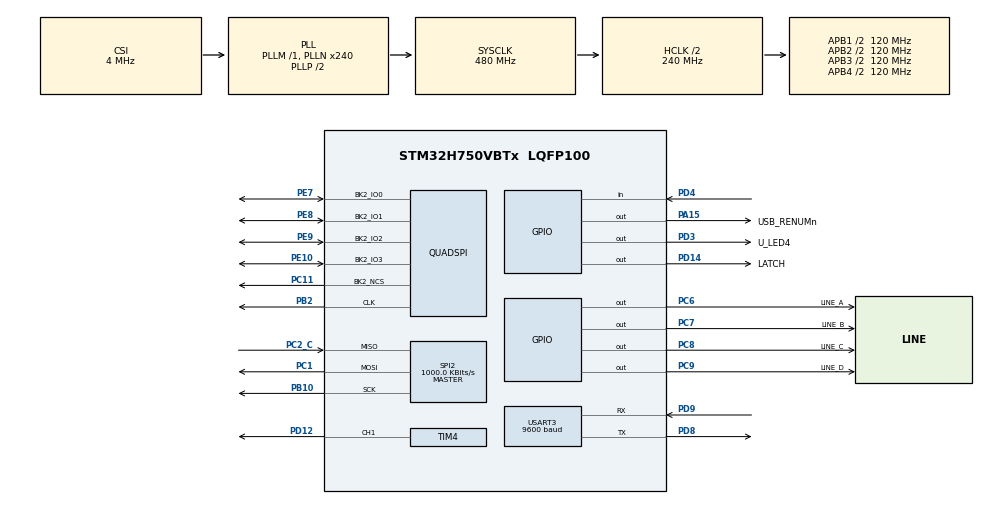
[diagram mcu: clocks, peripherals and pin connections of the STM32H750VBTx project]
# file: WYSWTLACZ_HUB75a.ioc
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Mcu.Family=STM32H7
NVIC.USART3_IRQn=true\:0\:0\:false\:false\:true\:true\:true
IWDG1.Prescaler=IWDG_PRESCALER_8
VP_TIM5_VS_ClockSourceINT.Mode=Internal
RCC.CortexFreq_Value=480000000
PD3.PinState=GPIO_PIN_RESET
QUADSPI.ClockPrescaler=4
SPI2.VirtualType=VM_MASTER
PB10.Mode=Full_Duplex_Master
RCC.HPRE=RCC_HCLK_DIV2
Mdma.MDMA_Channel0.QUADSPI_FIFO_TH.0.SourceInc=MDMA_SRC_INC_BYTE
Mdma.MDMA_Channel0.QUADSPI_FIFO_TH.0.Rank=First
Mdma.MDMA_Channel0.QUADSPI_FIFO_TH.0.Endianness=MDMA_LITTLE_ENDIANNESS_PRESERVE
RCC.PLL2_VCI_Range-AdvancedSettings=RCC_PLL2VCIRANGE_0
RCC.PLLFRACN=0
PC6.GPIO_Label=LINE_A
Mdma.MDMA_Channel0.QUADSPI_FIFO_TH.0.DstAddress=0
Mdma.MDMA_Channel0.QUADSPI_FIFO_TH.0.Instance=MDMA_Channel0
RCC.PLL1_VCO_SEL-AdvancedSettings=RCC_PLL1VCOMEDIUM
RCC.PLL2FRACN=0
PA15\ (JTDI).Signal=GPIO_Output
PD3.GPIO_Speed=GPIO_SPEED_FREQ_LOW
PD9.Mode=Asynchronous
RCC.SYSCLKSource=RCC_SYSCLKSOURCE_PLLCLK
ProjectManager.StackSize=0x400
PC8.PinState=GPIO_PIN_RESET
IWDG1.Reload=160
RCC.SPI123CLockSelection=RCC_SPI123CLKSOURCE_PLL2
USART3.VirtualMode-Asynchronous=VM_ASYNC
Mdma.MDMA_Channel0.QUADSPI_FIFO_TH.0.BufferTransferLength=4
PA14\ (JTCK/SWCLK).Signal=DEBUG_JTCK-SWCLK
CORTEX_M7.Enable-Cortex_Memory_Protection_Unit_Region0_Settings=MPU_REGION_ENABLE
USART3.BaudRate=9600
NVIC.TIM5_IRQn=true\:3\:0\:true\:false\:true\:true\:true
RCC.HCLKFreq_Value=240000000
PD4.Signal=GPIO_Input
TIM3.Period=9
PC7.Signal=GPIO_Output
PD8.Signal=USART3_TX
QUADSPI.FlashSize=25
PC2_C.Signal=SPI2_MISO
PD4.GPIO_Mode=GPIO_MODE_INPUT
Mdma.MDMA_Channel0.Request0=QUADSPI_FIFO_TH
RCC.HSE_VALUE=8000000
PB2.Signal=QUADSPI_CLK
RCC.DIVM3=1
RCC.DIVM2=1
RCC.DIVM1=1
Mdma.MDMA_Channel0.QUADSPI_FIFO_TH.0.DestinationInc=MDMA_DEST_INC_DISABLE
VP_IWDG1_VS_IWDG.Mode=IWDG_Activate
Mdma.MDMA_Channel0.QUADSPI_FIFO_TH.0.DataAlignment=MDMA_DATAALIGN_PACKENABLE
RCC.PLL1_VCI_Range-AdvancedSettings=RCC_PLL1VCIRANGE_0
PE9.Signal=QUADSPI_BK2_IO2
TIM3.Prescaler=239
NVIC.TIM2_IRQn=true\:4\:0\:true\:false\:true\:true\:true
SPI2.CalculateBaudRate=1000.0 KBits/s
PC7.PinState=GPIO_PIN_RESET
Mdma.MDMA_Channel0.QUADSPI_FIFO_TH.0.BlockCount=0
PA14\ (JTCK/SWCLK).Mode=Serial_Wire
TIM4.Period=100
Mdma.MDMA_Channel0.RequestsNb=1
PE10.Signal=QUADSPI_BK2_IO3
Mdma.RequestSet0=MDMA_Channel0
RCC.APB3Freq_Value=120000000
Mcu.Package=LQFP100
TIM2.Prescaler=239
SPI2.Mode=SPI_MODE_MASTER
RCC.PLL3FRACN=0
RCC.D1PPRE=RCC_APB3_DIV2
PA15\ (JTDI).GPIO_ModeDefaultOutputPP=GPIO_MODE_OUTPUT_PP
PD12.Signal=S_TIM4_CH1
Mdma.MDMA_Channel0.QUADSPI_FIFO_TH.0.BlockDataLength=0
PC8.GPIO_ModeDefaultOutputPP=GPIO_MODE_OUTPUT_PP
PE9.Mode=Single Bank 2
PC6.GPIO_PuPd=GPIO_PULLUP
PC8.GPIO_Speed=GPIO_SPEED_FREQ_HIGH
PC11.Mode=Single Bank 2
SH.S_TIM4_CH1.0=TIM4_CH1,PWM Generation1 CH1
RCC.APB4Freq_Value=120000000
SPI2.Direction=SPI_DIRECTION_2LINES
PD3.GPIO_Label=U_LED4
PD3.GPIO_PuPd=GPIO_NOPULL
PE7.Signal=QUADSPI_BK2_IO0
PC6.GPIO_Speed=GPIO_SPEED_FREQ_HIGH
VP_TIM3_VS_ClockSourceINT.Mode=Internal
PC6.GPIO_ModeDefaultOutputPP=GPIO_MODE_OUTPUT_PP
RCC.PLLSourceVirtual=RCC_PLLSOURCE_CSI
TIM4.Channel-PWM\ Generation1\ CH1=TIM_CHANNEL_1
PC7.GPIO_ModeDefaultOutputPP=GPIO_MODE_OUTPUT_PP
NVIC.QUADSPI_IRQn=true\:2\:0\:true\:false\:true\:true\:true
Mdma.MDMA_Channel0.QUADSPI_FIFO_TH.0.MaskData=0
CORTEX_M7.CPU_ICache=Enabled
RCC.DIVQ2=120
RCC.DIVQ1=120
PA13\ (JTMS/SWDIO).Mode=Serial_Wire
Mdma.MDMA_Channel0.QUADSPI_FIFO_TH.0.SrcAddress=0
PC9.GPIO_Label=LINE_D
Mdma.MDMA_Channel0.QUADSPI_FIFO_TH.0.CircularMode=MDMA_LINEAR_LIST
PC11.Signal=QUADSPI_BK2_NCS
PD3.Signal=GPIO_Output
PC8.Signal=GPIO_Output
PE10.Mode=Single Bank 2
PC6.Signal=GPIO_Output
PC9.PinState=GPIO_PIN_SET
RCC.D2PPRE2=RCC_APB2_DIV2
RCC.D2PPRE1=RCC_APB1_DIV2
RCC.DIVP2=120
PD9.Signal=USART3_RX
Mdma.MDMA_Channel0.QUADSPI_FIFO_TH.0.DestDataSize=MDMA_DEST_DATASIZE_BYTE
PE8.Mode=Single Bank 2
PC8.GPIO_Label=LINE_C
CORTEX_M7.MPU_Control=__NULL
PD4.GPIO_PuPd=GPIO_NOPULL
NVIC.MDMA_IRQn=true\:2\:0\:true\:false\:true\:true\:true
ProjectManager.TargetToolchain=STM32CubeIDE
RCC.DIVN3=120
RCC.DIVN2=60
RCC.DIVN1=240
RCC.LPTIM1CLockSelection=RCC_LPTIM1CLKSOURCE_PLL2
PC2_C.Mode=Full_Duplex_Master
STMicroelectronics.X-CUBE-TOUCHGFX.4.16.0.ApplicationCcGraphicsJjApplication=TouchGFXOoGenerator
RCC.USBFreq_Value=48000000
PC7.GPIO_PuPd=GPIO_PULLUP
TIM4.Prescaler=1
PD8.Mode=Asynchronous
PB10.Signal=SPI2_SCK
PC6.PinState=GPIO_PIN_RESET
RCC.USBCLockSelection=RCC_USBCLKSOURCE_HSI48
Mdma.MDMA_Channel0.QUADSPI_FIFO_TH.0.DestBlockAddressOffset=0
Mdma.MDMA_Channel0.QUADSPI_FIFO_TH.0.DestBurst=MDMA_DEST_BURST_SINGLE
Mdma.MDMA_Channel0.QUADSPI_FIFO_TH.0.SourceDataSize=MDMA_SRC_DATASIZE_BYTE
board=custom
PC7.GPIO_Speed=GPIO_SPEED_FREQ_HIGH
PA15\ (JTDI).GPIO_Speed=GPIO_SPEED_FREQ_LOW
NVIC.TIM3_IRQn=true\:4\:0\:true\:false\:true\:true\:true
RCC.APB2Freq_Value=120000000
VP_TIM2_VS_ClockSourceINT.Mode=Internal
PE8.Signal=QUADSPI_BK2_IO1
PC9.GPIO_ModeDefaultOutputPP=GPIO_MODE_OUTPUT_PP
RCC.ADCFreq_Value=2000000
Mdma.MDMA_Channel0.QUADSPI_FIFO_TH.0.SourceBurst=MDMA_SOURCE_BURST_SINGLE
PC9.GPIO_PuPd=GPIO_PULLDOWN
PA15\ (JTDI).GPIO_PuPd=GPIO_NOPULL
QUADSPI.FifoThreshold=4
PD14.GPIO_Label=LATCH
TIM2.Period=99
Mdma.MDMA_Channel0.QUADSPI_FIFO_TH.0.MaskAddress=0
PA15\ (JTDI).GPIO_Label=USB_RENUMn
Mcu.Name=STM32H750VBTx
PD14.Signal=GPIO_Output
PC7.GPIO_Label=LINE_B
PC8.GPIO_PuPd=GPIO_PULLUP
RCC.SYSCLKFreq_VALUE=480000000
PE7.Mode=Single Bank 2
RCC.Spi45ClockSelection=RCC_SPI45CLKSOURCE_PLL2
TIM5.Prescaler=239
PB2.Mode=Single Bank 2
Mdma.MDMA_Channel0.QUADSPI_FIFO_TH.0.Priority=MDMA_PRIORITY_LOW
RCC.QSPICLockSelection=RCC_QSPICLKSOURCE_PLL2
Mdma.MDMA_Channel0.QUADSPI_FIFO_TH.0.SourceBlockAddressOffset=0
ProjectManager.HeapSize=0x200
Mdma.MDMA_Channel0.QUADSPI_FIFO_TH.0.TransferTriggerMode=MDMA_BUFFER_TRANSFER
PD3.GPIO_ModeDefaultOutputPP=GPIO_MODE_OUTPUT_PP
VP_TIM4_VS_ClockSourceINT.Mode=Internal
Mdma.RequestSetsNb=1
PC9.GPIO_Speed=GPIO_SPEED_FREQ_LOW
NVIC.PriorityGroup=NVIC_PRIORITYGROUP_4
RCC.D3PPRE=RCC_APB4_DIV2
TIM5.Period=200
PA15\ (JTDI).PinState=GPIO_PIN_RESET
PC9.Signal=GPIO_Output
CORTEX_M7.CPU_DCache=Disabled
RCC.APB1Freq_Value=120000000
RCC.DIVR2=5
PC1.Signal=SPI2_MOSI
PA13\ (JTMS/SWDIO).Signal=DEBUG_JTMS-SWDIO
PC1.Mode=Full_Duplex_Master

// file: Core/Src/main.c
/* USER CODE BEGIN Header */
/**
  ******************************************************************************
  * @file           : main.c
  * @brief          : Main program body
  ******************************************************************************
  * @attention
  *
  * <h2><center>&copy; Copyright (c) 2021 STMicroelectronics.
  * All rights reserved.</center></h2>
  *
  * This software component is licensed by ST under BSD 3-Clause license,
  * the "License"; You may not use this file except in compliance with the
  * License. You may obtain a copy of the License at:
  *                        opensource.org/licenses/BSD-3-Clause
  *
  ******************************************************************************
  */
/* USER CODE END Header */
#include "main.h"
#include "iwdg.h"
#include "mdma.h"
#include "quadspi.h"
#include "spi.h"
#include "tim.h"
#include "usart.h"
#include "gpio.h"

/* USER CODE BEGIN Includes */
#include "HUB_75.h"
#include "stm32h7xx_it.h"
#include "PIXEL_MAPS.h"
#include "stm32h7xx_hal.h"
#include "Napisy.h"
#include "LL_UART_TEO.h"
#include "String_From_UART.h"
/* USER CODE END Includes */

void SystemClock_Config(void);
void PeriphCommonClock_Config(void);

/* USER CODE BEGIN 0 */

/* USER CODE BEGIN PV */
/* USER CODE END 0 */

int main(void)
{

  /* MCU Configuration--------------------------------------------------------*/

  /* Reset of all peripherals, Initializes the Flash interface and the Systick. */
  HAL_Init();

  /* Configure the system clock */
  SystemClock_Config();

/* Configure the peripherals common clocks */
  PeriphCommonClock_Config();

  /* Initialize all configured peripherals */
  MX_GPIO_Init();
  MX_MDMA_Init();
  MX_TIM2_Init();
  MX_QUADSPI_Init();
  MX_TIM3_Init();
  MX_TIM5_Init();
  MX_USART3_UART_Init();
  MX_TIM4_Init();
  MX_SPI2_Init();
 // MX_IWDG1_Init();
  /* USER CODE BEGIN 2 */

  //HAL_Delay(2);  //WatchDOG!!!!! na 20 MS
  HAL_IWDG_Refresh(&hiwdg1);
HUB_75_INIT();

INIT_UART3();

uint8_t Proces_num=0 ;

uint8_t Pozdr_widzow[10000]={0};

uint8_t B1[]= "tel. 885015433";
int Size=sizeof(B1)-1;
Create_String_buffer (B1, Size, 0 , Pozdr_widzow,Azure);
uint8_t B2[]= "POZDRAWIAMY";
Size=sizeof(B2)-1;
Create_String_buffer (B2, Size, 1 , Pozdr_widzow,Green);

HAL_IWDG_Refresh(&hiwdg1);

uint8_t ZaprDoSalonuFryzStudio[10000]={0};
uint8_t S1[]= " ZAPRASZAMY";
uint8_t S2[]= "  DO SALONU ";
uint8_t S3[]= "FRYZJESKIEGO";
uint8_t S4[]= " ORAZ STUDIA";
uint8_t S5[]= "  PAZNOKCI!";
 Size=sizeof(S1)-1;
Create_String_buffer (S1, Size, 0 , ZaprDoSalonuFryzStudio,Azure);
 Size=sizeof(S2)-1;
Create_String_buffer (S2, Size, 1 , ZaprDoSalonuFryzStudio,Green);
 Size=sizeof(S3)-1;

 HAL_IWDG_Refresh(&hiwdg1);

Create_String_buffer (S3, Size, 2 , ZaprDoSalonuFryzStudio,Yellow);
 Size=sizeof(S4)-1;
Create_String_buffer (S4, Size, 3 , ZaprDoSalonuFryzStudio,Purple);
Size=sizeof(S5)-1;
Create_String_buffer (S5, Size, 4 , ZaprDoSalonuFryzStudio,White);
int ZaprDoSalonuFryzStudioRow=4+1;

/*
uint8_t ZaprDoSalonuFryzStudio2[10000]={0};
uint8_t S12[]= "ZAPRASZAMY";
uint8_t S22[]= "DO SALONU ";
uint8_t S32[]= "FRYZJESKIEGO";
uint8_t S42[]= " ORAZ STUDIA";
uint8_t S52[]= "  PAZNKOCI";
 Size=sizeof(S1)-1;
Create_String_buffer (S1, Size, 0 , ZaprDoSalonuFryzStudio2,Azure);
 Size=sizeof(S2)-1;
Create_String_buffer (S2, Size, 1 , ZaprDoSalonuFryzStudio2,Green);
 Size=sizeof(S3)-1;
Create_String_buffer (S3, Size, 2 , ZaprDoSalonuFryzStudio2,Yellow);
 Size=sizeof(S4)-1;
Create_String_buffer (S4, Size, 3 , ZaprDoSalonuFryzStudio2,Purple);
Size=sizeof(S5)-1;
Create_String_buffer (S5, Size, 4 , ZaprDoSalonuFryzStudio,Purple);
int ZaprDoSalonuFryzStudioRow2=4+1;
*/

SedingBufor_Adr=OUT_B1;
  /* USER CODE END 2 */

  /* Infinite loop */
  /* USER CODE BEGIN WHILE */
  while (1)
  {
	  HAL_IWDG_Refresh(&hiwdg1);
	  HandleEcho(&Thuart3);

	  switch( Proces_num )
	  {
	  case 0:
	  	Verical_Scroll_Flow_withHOLD(ZaprDoSalonuFryzStudio, ZaprDoSalonuFryzStudioRow*16, 50, 800,300, 0);  //this fucion execution maks 550us
	   if(SCR_PROCESS==SCR_VIEWING_PROCESS_DONE)
	   {
	  	 Proces_num++;
	   }
	  break;
	  case 1:

	  	Verical_Scroll_Flow_withHOLD(ZaprDoSalonuFryzStudio, (ZaprDoSalonuFryzStudioRow*16) +16 , 50, 300,800, 1);
	  	 if(SCR_PROCESS==SCR_VIEWING_PROCESS_DONE)
	  	 {
	  		 Proces_num++;
	  	 }
	  	break;
	  case 2:

	  	Viewing_BitMapBy_Time(Pozdr_widzow, 2000);
	  	 if(SCR_PROCESS==SCR_VIEWING_PROCESS_DONE)
	  	 {
	  		 Proces_num++;
	  	 }

	  	break;
	  case 3:

	  	Viewing_BitMapBy_Time(Pozdr_widzow, 1000);
	  	 if(SCR_PROCESS==SCR_VIEWING_PROCESS_DONE)
	  	 {
	  		 Proces_num++;
	  	 }

	  	break;

	  case 4:
		  	 Horizontal_SCROLL( Pozdr_wsz, 1300 , 1300, 18);  //Pozdr_wsz
		  	 if(SCR_PROCESS==SCR_VIEWING_PROCESS_DONE)
		  	 {
		  		 Proces_num++;
		  	 }

	  	break;
	  case 5:
		  	  	  	  //Napisy z UARTU czyli bluetootha
		  if(Ilosc_Lini_tesktu>0)
		  {

			  if(Ilosc_Lini_tesktu==1 || Ilosc_Lini_tesktu==2)
			  {
				  	Viewing_BitMapBy_Time( Created_By_UART_BMP , 6000);

						  	 if(SCR_PROCESS==SCR_VIEWING_PROCESS_DONE)
						  	 {
						  		Proces_num++;
						  		break;
						  	 }
			  }

			  else if(Ilosc_Lini_tesktu==3 || Ilosc_Lini_tesktu==4)
			  {
				  Verical_Scroll_Flow_withHOLD(Created_By_UART_BMP, 64, 80, 3200,3200, 1);
				  	 if(SCR_PROCESS==SCR_VIEWING_PROCESS_DONE)
				  	 {
				  		Proces_num++;
				  		break;
				  	 }
			  }
			  else
			  {
				  SCR_PROCESS=SCR_VIEWING_PROCESS_DONE;
				  Proces_num++;
				  break;
			  }

			  if(  (HAL_GetTick() - Z_czasOtrzymania_tekstu) > (1000*60*1) )
			  {
				  SCR_PROCESS=SCR_VIEWING_PROCESS_DONE;
				  Ilosc_Lini_tesktu=0;
				  f_start_view=1;
				  Proces_num++;
				  break;
			  }

		  }

		  else
		  {
			  SCR_PROCESS=SCR_VIEWING_PROCESS_DONE;
			  Proces_num++;
			  break;
		  }
	  	break;

	  default :
	  	Proces_num=0;

	  	break;
	  }

    /* USER CODE END WHILE */

  }
}

void SystemClock_Config(void)
{
  RCC_OscInitTypeDef RCC_OscInitStruct = {0};
  RCC_ClkInitTypeDef RCC_ClkInitStruct = {0};

  /** Supply configuration update enable
  */
  HAL_PWREx_ConfigSupply(PWR_LDO_SUPPLY);
  /** Configure the main internal regulator output voltage
  */
  __HAL_PWR_VOLTAGESCALING_CONFIG(PWR_REGULATOR_VOLTAGE_SCALE0);

  while(!__HAL_PWR_GET_FLAG(PWR_FLAG_VOSRDY)) {}
  /** Macro to configure the PLL clock source
  */
  __HAL_RCC_PLL_PLLSOURCE_CONFIG(RCC_PLLSOURCE_CSI);
  /** Initializes the RCC Oscillators according to the specified parameters
  * in the RCC_OscInitTypeDef structure.
  */
  RCC_OscInitStruct.OscillatorType = RCC_OSCILLATORTYPE_CSI|RCC_OSCILLATORTYPE_LSI;
  RCC_OscInitStruct.LSIState = RCC_LSI_ON;
  RCC_OscInitStruct.CSIState = RCC_CSI_ON;
  RCC_OscInitStruct.CSICalibrationValue = RCC_CSICALIBRATION_DEFAULT;
  RCC_OscInitStruct.PLL.PLLState = RCC_PLL_ON;
  RCC_OscInitStruct.PLL.PLLSource = RCC_PLLSOURCE_CSI;
  RCC_OscInitStruct.PLL.PLLM = 1;
  RCC_OscInitStruct.PLL.PLLN = 240;
  RCC_OscInitStruct.PLL.PLLP = 2;
  RCC_OscInitStruct.PLL.PLLQ = 120;
  RCC_OscInitStruct.PLL.PLLR = 2;
  RCC_OscInitStruct.PLL.PLLRGE = RCC_PLL1VCIRANGE_2;
  RCC_OscInitStruct.PLL.PLLVCOSEL = RCC_PLL1VCOWIDE;
  RCC_OscInitStruct.PLL.PLLFRACN = 0;
  if (HAL_RCC_OscConfig(&RCC_OscInitStruct) != HAL_OK)
  {
    Error_Handler();
  }
  /** Initializes the CPU, AHB and APB buses clocks
  */
  RCC_ClkInitStruct.ClockType = RCC_CLOCKTYPE_HCLK|RCC_CLOCKTYPE_SYSCLK
                              |RCC_CLOCKTYPE_PCLK1|RCC_CLOCKTYPE_PCLK2
                              |RCC_CLOCKTYPE_D3PCLK1|RCC_CLOCKTYPE_D1PCLK1;
  RCC_ClkInitStruct.SYSCLKSource = RCC_SYSCLKSOURCE_PLLCLK;
  RCC_ClkInitStruct.SYSCLKDivider = RCC_SYSCLK_DIV1;
  RCC_ClkInitStruct.AHBCLKDivider = RCC_HCLK_DIV2;
  RCC_ClkInitStruct.APB3CLKDivider = RCC_APB3_DIV2;
  RCC_ClkInitStruct.APB1CLKDivider = RCC_APB1_DIV2;
  RCC_ClkInitStruct.APB2CLKDivider = RCC_APB2_DIV2;
  RCC_ClkInitStruct.APB4CLKDivider = RCC_APB4_DIV2;

  if (HAL_RCC_ClockConfig(&RCC_ClkInitStruct, FLASH_LATENCY_4) != HAL_OK)
  {
    Error_Handler();
  }
}

void PeriphCommonClock_Config(void)
{
  RCC_PeriphCLKInitTypeDef PeriphClkInitStruct = {0};

  /** Initializes the peripherals clock
  */
  PeriphClkInitStruct.PeriphClockSelection = RCC_PERIPHCLK_QSPI|RCC_PERIPHCLK_SPI2;
  PeriphClkInitStruct.PLL2.PLL2M = 1;
  PeriphClkInitStruct.PLL2.PLL2N = 60;
  PeriphClkInitStruct.PLL2.PLL2P = 120;
  PeriphClkInitStruct.PLL2.PLL2Q = 120;
  PeriphClkInitStruct.PLL2.PLL2R = 5;
  PeriphClkInitStruct.PLL2.PLL2RGE = RCC_PLL2VCIRANGE_2;
  PeriphClkInitStruct.PLL2.PLL2VCOSEL = RCC_PLL2VCOWIDE;
  PeriphClkInitStruct.PLL2.PLL2FRACN = 0;
  PeriphClkInitStruct.QspiClockSelection = RCC_QSPICLKSOURCE_PLL2;
  PeriphClkInitStruct.Spi123ClockSelection = RCC_SPI123CLKSOURCE_PLL2;
  if (HAL_RCCEx_PeriphCLKConfig(&PeriphClkInitStruct) != HAL_OK)
  {
    Error_Handler();
  }
}

void Error_Handler(void)
{
}

/************************ (C) COPYRIGHT STMicroelectronics *****END OF FILE****/
